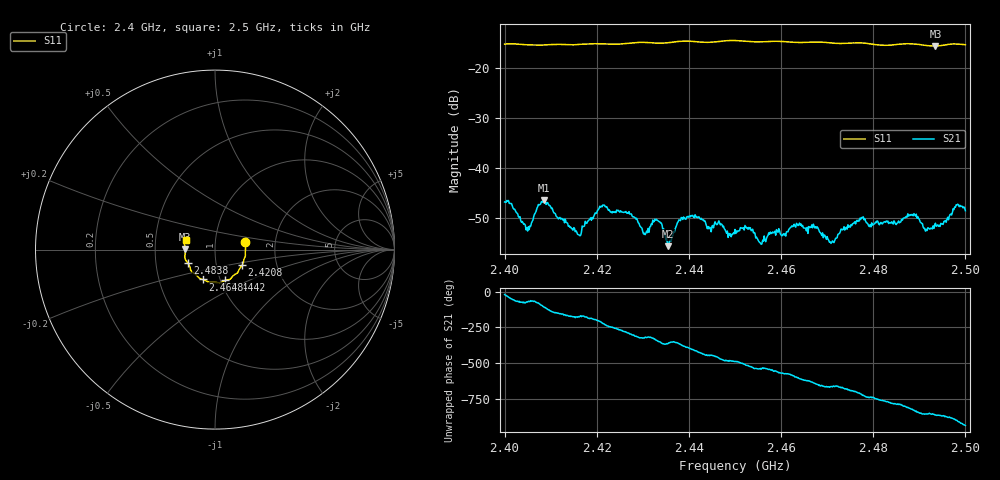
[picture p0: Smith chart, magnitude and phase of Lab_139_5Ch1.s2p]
# Hz S RI R 50
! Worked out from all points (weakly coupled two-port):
!   601 points, 2.4 GHz to 2.5 GHz, reference 50 ohm
!   highest |S21| = -46.38 dB at 2.4085 GHz (marker M1); lowest = -55.6 dB at 2.4355 GHz (marker M2)
!   lowest |S11| = -15.6 dB at 2.4935 GHz (marker M3), VSWR 1.40, Z = 35.8 + j0.203 ohm
!   |S11| at or under -10 dB: start of sweep to end of sweep
!   S12 and S22 are empty: the file has one direction only
!   S11 on the Smith chart (normalised r, x): 2.4 GHz: 1.40, +0.12; 2.4208 GHz: 1.33, -0.24; 2.4442 GHz: 1.05, -0.37; 2.4648 GHz: 0.83, -0.28; 2.4838 GHz: 0.73, -0.11; 2.5 GHz: 0.72, +0.08
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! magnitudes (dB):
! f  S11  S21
! 2.4 GHz  -15.2  -46.7
! 2.4052 GHz  -15.4  -51.7
! 2.4085 GHz  -15.4  -46.4
! 2.4167 GHz  -15.2  -52.8
! 2.4208 GHz  -15.2  -47.7
! 2.4272 GHz  -15.0  -49.1
! 2.4305 GHz  -14.9  -53.3
! 2.4333 GHz  -15.0  -50.5
! 2.4355 GHz  -15.0  -55.6
! 2.4383 GHz  -14.7  -49.8
! 2.4442 GHz  -14.9  -51.6
! 2.45 GHz  -14.5  -52.2
! 2.4557 GHz  -14.8  -55.2
! 2.4648 GHz  -14.9  -51.9
! 2.4667 GHz  -14.8  -51.3
! 2.471 GHz  -15.0  -54.7
! 2.4773 GHz  -15.0  -50.1
! 2.4833 GHz  -15.5  -51.0
! 2.4838 GHz  -15.4  -51.0
! 2.4888 GHz  -15.2  -49.1
! 2.4935 GHz  -15.6  -51.0
! 2.5 GHz  -15.3  -48.5
